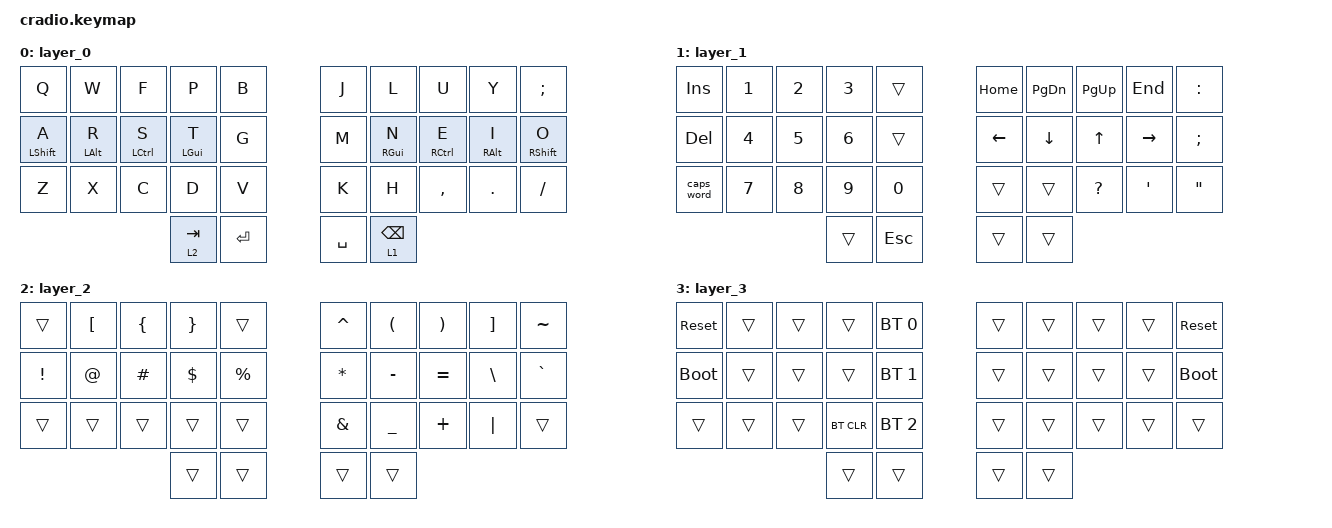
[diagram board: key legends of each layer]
// Copyright (c) 2022 The ZMK Contributors
// SPDX-License-Identifier: MIT

#include <behaviors.dtsi>
#include <dt-bindings/zmk/bt.h>
#include <dt-bindings/zmk/keys.h>

// Home row mods macro

#define HRML(k1,k2,k3,k4) &mt LSHFT k1  &mt LALT k2  &mt LCTRL k3  &mt LGUI k4
#define HRMR(k1,k2,k3,k4) &mt RGUI k1  &mt RCTRL k2  &mt RALT k3  &mt RSHFT k4

/ {
    behaviors {
        ht: hold_tap {
            compatible = "zmk,behavior-hold-tap";
            #binding-cells = <2>;
            flavor = "tap-preferred";
            tapping-term-ms = <220>;
            quick-tap-ms = <150>;
            require-prior-idle-ms = <100>;
            bindings = <&kp>, <&kp>;
        };
    };

    conditional_layers {
        compatible = "zmk,conditional-layers";

        tri_layer {
            if-layers = <1 2>;
            then-layer = <3>;
        };
    };

    combos {
        compatible = "zmk,combos";

        Bluetooth2 {
            bindings = <&bt BT_SEL 1>;
            key-positions = <13 31 16 32>;
        };

        Bluetooth1 {
            bindings = <&bt BT_SEL 0>;
            key-positions = <30 13 16 33>;
        };
    };

    macros {
        Greek: Greek {
            compatible = "zmk,behavior-macro";
            #binding-cells = <0>;
            bindings = <&none &kp>, <&macro_press>;

            label = "GREEK";
        };
    };

    keymap {
        compatible = "zmk,keymap";

        layer_0 {
            bindings = <
&kp Q        &kp W       &kp F        &kp P       &kp B        &kp J      &kp L            &kp U        &kp Y       &kp SEMI
&ht LSHFT A  &ht LALT R  &ht LCTRL S  &ht LGUI T  &kp G        &kp M      &ht RGUI N       &ht RCTRL E  &ht RALT I  &ht RSHFT O
&kp Z        &kp X       &kp C        &kp D       &kp V        &kp K      &kp H            &kp COMMA    &kp DOT     &kp FSLH
                                      &lt 2 TAB   &kp ENTER    &kp SPACE  &lt 1 BACKSPACE
            >;
        };

        layer_1 {
            bindings = <
&kp INS     &kp N1  &kp N2  &kp N3  &trans     &kp HOME  &kp PG_DN  &kp PG_UP     &kp END    &kp COLON
&kp DEL     &kp N4  &kp N5  &kp N6  &trans     &kp LEFT  &kp DOWN   &kp UP        &kp RIGHT  &kp SEMI
&caps_word  &kp N7  &kp N8  &kp N9  &kp N0     &trans    &trans     &kp QUESTION  &kp SQT    &kp DOUBLE_QUOTES
                            &trans  &kp ESC    &trans    &trans
            >;
        };

        layer_2 {
            bindings = <
&trans    &kp LBKT  &kp LBRC  &kp RBRC  &trans       &kp CARET  &kp LPAR   &kp RPAR   &kp RBKT  &kp TILDE
&kp EXCL  &kp AT    &kp HASH  &kp DLLR  &kp PRCNT    &kp ASTRK  &kp MINUS  &kp EQUAL  &kp BSLH  &kp GRAVE
&trans    &trans    &trans    &trans    &trans       &kp AMPS   &kp UNDER  &kp PLUS   &kp PIPE  &trans
                              &trans    &trans       &trans     &trans
            >;
        };

        layer_3 {
            bindings = <
&sys_reset   &trans  &trans  &trans      &bt BT_SEL 0    &trans  &trans  &trans  &trans  &sys_reset
&bootloader  &trans  &trans  &trans      &bt BT_SEL 1    &trans  &trans  &trans  &trans  &bootloader
&trans       &trans  &trans  &bt BT_CLR  &bt BT_SEL 2    &trans  &trans  &trans  &trans  &trans
                             &trans      &trans          &trans  &trans
            >;
        };
    };
};
